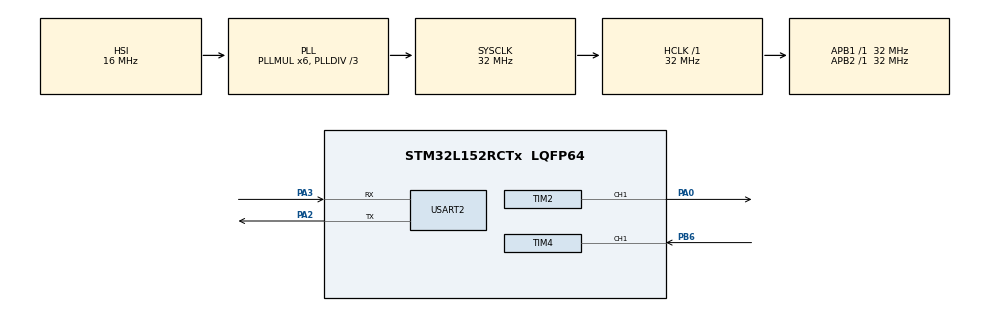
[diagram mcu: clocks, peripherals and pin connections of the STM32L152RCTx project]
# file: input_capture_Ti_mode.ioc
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Mcu.Family=STM32L1
Mcu.Name=STM32L152RCTx
Mcu.Package=LQFP64
NVIC.PriorityGroup=NVIC_PRIORITYGROUP_0
NVIC.TIM4_IRQn=true\:0\:0\:false\:false\:true\:true\:true\:true
PA0-WKUP1.Signal=S_TIM2_CH1_ETR
PA2.Mode=Asynchronous
PA2.Signal=USART2_TX
PA3.Mode=Asynchronous
PA3.Signal=USART2_RX
PB6.Signal=S_TIM4_CH1
ProjectManager.HeapSize=0x200
ProjectManager.StackSize=0x400
ProjectManager.TargetToolchain=STM32CubeIDE
RCC.48MHZClocksFreq_Value=48000000
RCC.AHBFreq_Value=32000000
RCC.APB1Freq_Value=32000000
RCC.APB1TimFreq_Value=32000000
RCC.APB2Freq_Value=32000000
RCC.APB2TimFreq_Value=32000000
RCC.HCLKFreq_Value=32000000
RCC.HSE_VALUE=8000000
RCC.HSI_VALUE=16000000
RCC.LSE_VALUE=32768
RCC.MSIClockRange=RCC_MSIRANGE_6
RCC.MSI_VALUE=4194000
RCC.PLLDIV=RCC_PLL_DIV3
RCC.PLLMUL=RCC_PLL_MUL6
RCC.RTCClockSelectionVirtual=RCC_RTCCLKSOURCE_LSE
RCC.SYSCLKFreq_VALUE=32000000
RCC.SYSCLKSource=RCC_SYSCLKSOURCE_PLLCLK
RCC.USBOutput=48000000
RCC.VCOOutputFreq_Value=96000000
SH.S_TIM2_CH1_ETR.0=TIM2_CH1,PWM Generation1 CH1
SH.S_TIM4_CH1.0=TIM4_CH1,Input_Capture1_from_TI1
TIM2.Channel-PWM\ Generation1\ CH1=TIM_CHANNEL_1
TIM2.Period=100-1
TIM2.Prescaler=32
TIM4.Channel-Input_Capture1_from_TI1=TIM_CHANNEL_1
TIM4.Prescaler=32
USART2.VirtualMode=VM_ASYNC
VP_TIM2_VS_ClockSourceINT.Mode=Internal
VP_TIM4_VS_ClockSourceINT.Mode=Internal
board=STM32L152C-DISCO

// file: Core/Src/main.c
/* USER CODE BEGIN Header */
/**
  ******************************************************************************
  * @file           : main.c
  * @brief          : Main program body
  ******************************************************************************
  * @attention
  *
  * Copyright (c) 2023 STMicroelectronics.
  * All rights reserved.
  *
  * This software is licensed under terms that can be found in the LICENSE file
  * in the root directory of this software component.
  * If no LICENSE file comes with this software, it is provided AS-IS.
  *
  ******************************************************************************
  */
/* USER CODE END Header */
#include "main.h"

/* USER CODE BEGIN Includes */
#include <stdio.h>
/* USER CODE END Includes */

TIM_HandleTypeDef htim2;
TIM_HandleTypeDef htim4;

UART_HandleTypeDef huart2;

void SystemClock_Config(void);
static void MX_GPIO_Init(void);
static void MX_TIM2_Init(void);
static void MX_USART2_UART_Init(void);
static void MX_TIM4_Init(void);

/* USER CODE BEGIN 0 */
/* Measure Frequency */
#define TIMCLOCK   32000000
#define PRESCALAR  32

uint32_t IC_Val1 = 0;
uint32_t IC_Val2 = 0;
uint32_t Difference = 0;
int Is_First_Captured = 0;

float frequency = 0;

void HAL_TIM_IC_CaptureCallback(TIM_HandleTypeDef *htim)
{
	printf("intuppt is trigger\n");
	if (htim->Channel == HAL_TIM_ACTIVE_CHANNEL_1)
	{
		if (Is_First_Captured==0) // if the first rising edge is not captured
		{
			IC_Val1 = HAL_TIM_ReadCapturedValue(htim, TIM_CHANNEL_1); // read the first value
			Is_First_Captured = 1;  // set the first captured as true
		}

		else   // If the first rising edge is captured, now we will capture the second edge
		{
			IC_Val2 = HAL_TIM_ReadCapturedValue(htim, TIM_CHANNEL_1);  // read second value

			if (IC_Val2 > IC_Val1)
			{
				Difference = IC_Val2-IC_Val1;
			}

			else if (IC_Val1 > IC_Val2)
			{
				Difference = (0xffffffff - IC_Val1) + IC_Val2;
			}
		}
	}
}

/* USER CODE END 0 */

int main(void)
{

  /* MCU Configuration--------------------------------------------------------*/

  /* Reset of all peripherals, Initializes the Flash interface and the Systick. */
  HAL_Init();

  /* Configure the system clock */
  SystemClock_Config();

  /* Initialize all configured peripherals */
  MX_GPIO_Init();
  MX_TIM2_Init();
  MX_USART2_UART_Init();
  MX_TIM4_Init();
  /* USER CODE BEGIN 2 */
  printf("helooo\n");
  TIM2->CCR1 = 50;
    HAL_TIM_PWM_Start(&htim2, TIM_CHANNEL_1);

    HAL_TIM_IC_Start_IT(&htim4, TIM_CHANNEL_1);

  /* USER CODE END 2 */

  /* Infinite loop */
  while (1)
  {

    /* USER CODE BEGIN 3 */
HAL_Delay(500);
  }
  /* USER CODE END 3 */
}

void SystemClock_Config(void)
{
  RCC_OscInitTypeDef RCC_OscInitStruct = {0};
  RCC_ClkInitTypeDef RCC_ClkInitStruct = {0};

  /** Configure the main internal regulator output voltage
  */
  __HAL_PWR_VOLTAGESCALING_CONFIG(PWR_REGULATOR_VOLTAGE_SCALE1);

  /** Initializes the RCC Oscillators according to the specified parameters
  * in the RCC_OscInitTypeDef structure.
  */
  RCC_OscInitStruct.OscillatorType = RCC_OSCILLATORTYPE_HSI;
  RCC_OscInitStruct.HSIState = RCC_HSI_ON;
  RCC_OscInitStruct.HSICalibrationValue = RCC_HSICALIBRATION_DEFAULT;
  RCC_OscInitStruct.PLL.PLLState = RCC_PLL_ON;
  RCC_OscInitStruct.PLL.PLLSource = RCC_PLLSOURCE_HSI;
  RCC_OscInitStruct.PLL.PLLMUL = RCC_PLL_MUL6;
  RCC_OscInitStruct.PLL.PLLDIV = RCC_PLL_DIV3;
  if (HAL_RCC_OscConfig(&RCC_OscInitStruct) != HAL_OK)
  {
    Error_Handler();
  }

  /** Initializes the CPU, AHB and APB buses clocks
  */
  RCC_ClkInitStruct.ClockType = RCC_CLOCKTYPE_HCLK|RCC_CLOCKTYPE_SYSCLK
                              |RCC_CLOCKTYPE_PCLK1|RCC_CLOCKTYPE_PCLK2;
  RCC_ClkInitStruct.SYSCLKSource = RCC_SYSCLKSOURCE_PLLCLK;
  RCC_ClkInitStruct.AHBCLKDivider = RCC_SYSCLK_DIV1;
  RCC_ClkInitStruct.APB1CLKDivider = RCC_HCLK_DIV1;
  RCC_ClkInitStruct.APB2CLKDivider = RCC_HCLK_DIV1;

  if (HAL_RCC_ClockConfig(&RCC_ClkInitStruct, FLASH_LATENCY_1) != HAL_OK)
  {
    Error_Handler();
  }
}

static void MX_TIM2_Init(void)
{

  TIM_ClockConfigTypeDef sClockSourceConfig = {0};
  TIM_MasterConfigTypeDef sMasterConfig = {0};
  TIM_OC_InitTypeDef sConfigOC = {0};

  htim2.Instance = TIM2;
  htim2.Init.Prescaler = 32;
  htim2.Init.CounterMode = TIM_COUNTERMODE_UP;
  htim2.Init.Period = 100-1;
  htim2.Init.ClockDivision = TIM_CLOCKDIVISION_DIV1;
  htim2.Init.AutoReloadPreload = TIM_AUTORELOAD_PRELOAD_DISABLE;
  if (HAL_TIM_Base_Init(&htim2) != HAL_OK)
  {
    Error_Handler();
  }
  sClockSourceConfig.ClockSource = TIM_CLOCKSOURCE_INTERNAL;
  if (HAL_TIM_ConfigClockSource(&htim2, &sClockSourceConfig) != HAL_OK)
  {
    Error_Handler();
  }
  if (HAL_TIM_PWM_Init(&htim2) != HAL_OK)
  {
    Error_Handler();
  }
  sMasterConfig.MasterOutputTrigger = TIM_TRGO_RESET;
  sMasterConfig.MasterSlaveMode = TIM_MASTERSLAVEMODE_DISABLE;
  if (HAL_TIMEx_MasterConfigSynchronization(&htim2, &sMasterConfig) != HAL_OK)
  {
    Error_Handler();
  }
  sConfigOC.OCMode = TIM_OCMODE_PWM1;
  sConfigOC.Pulse = 0;
  sConfigOC.OCPolarity = TIM_OCPOLARITY_HIGH;
  sConfigOC.OCFastMode = TIM_OCFAST_DISABLE;
  if (HAL_TIM_PWM_ConfigChannel(&htim2, &sConfigOC, TIM_CHANNEL_1) != HAL_OK)
  {
    Error_Handler();
  }
  HAL_TIM_MspPostInit(&htim2);

}

static void MX_TIM4_Init(void)
{

  TIM_ClockConfigTypeDef sClockSourceConfig = {0};
  TIM_MasterConfigTypeDef sMasterConfig = {0};
  TIM_IC_InitTypeDef sConfigIC = {0};

  htim4.Instance = TIM4;
  htim4.Init.Prescaler = 32;
  htim4.Init.CounterMode = TIM_COUNTERMODE_UP;
  htim4.Init.Period = 65535;
  htim4.Init.ClockDivision = TIM_CLOCKDIVISION_DIV1;
  htim4.Init.AutoReloadPreload = TIM_AUTORELOAD_PRELOAD_DISABLE;
  if (HAL_TIM_Base_Init(&htim4) != HAL_OK)
  {
    Error_Handler();
  }
  sClockSourceConfig.ClockSource = TIM_CLOCKSOURCE_INTERNAL;
  if (HAL_TIM_ConfigClockSource(&htim4, &sClockSourceConfig) != HAL_OK)
  {
    Error_Handler();
  }
  if (HAL_TIM_IC_Init(&htim4) != HAL_OK)
  {
    Error_Handler();
  }
  sMasterConfig.MasterOutputTrigger = TIM_TRGO_RESET;
  sMasterConfig.MasterSlaveMode = TIM_MASTERSLAVEMODE_DISABLE;
  if (HAL_TIMEx_MasterConfigSynchronization(&htim4, &sMasterConfig) != HAL_OK)
  {
    Error_Handler();
  }
  sConfigIC.ICPolarity = TIM_INPUTCHANNELPOLARITY_RISING;
  sConfigIC.ICSelection = TIM_ICSELECTION_DIRECTTI;
  sConfigIC.ICPrescaler = TIM_ICPSC_DIV1;
  sConfigIC.ICFilter = 0;
  if (HAL_TIM_IC_ConfigChannel(&htim4, &sConfigIC, TIM_CHANNEL_1) != HAL_OK)
  {
    Error_Handler();
  }

}

static void MX_USART2_UART_Init(void)
{

  huart2.Instance = USART2;
  huart2.Init.BaudRate = 115200;
  huart2.Init.WordLength = UART_WORDLENGTH_8B;
  huart2.Init.StopBits = UART_STOPBITS_1;
  huart2.Init.Parity = UART_PARITY_NONE;
  huart2.Init.Mode = UART_MODE_TX_RX;
  huart2.Init.HwFlowCtl = UART_HWCONTROL_NONE;
  huart2.Init.OverSampling = UART_OVERSAMPLING_16;
  if (HAL_UART_Init(&huart2) != HAL_OK)
  {
    Error_Handler();
  }

}

static void MX_GPIO_Init(void)
{

  /* GPIO Ports Clock Enable */
  __HAL_RCC_GPIOA_CLK_ENABLE();
  __HAL_RCC_GPIOB_CLK_ENABLE();

}

void Error_Handler(void)
{
  __disable_irq();
  while (1)
  {
  }
}
